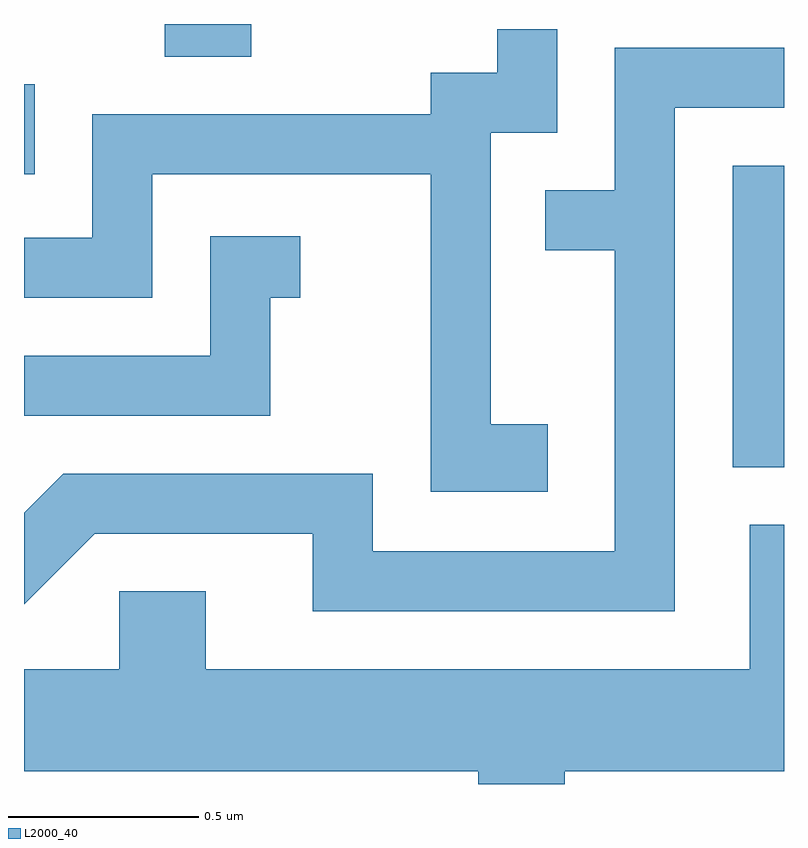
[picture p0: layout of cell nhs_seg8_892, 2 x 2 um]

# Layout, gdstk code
import gdstk
lib = gdstk.Library(unit=1e-6, precision=1e-09)
def R(c, l, rs):  # rectangles x0, y0, x1, y1
    for r in rs: c.add(gdstk.rectangle(r[:2], r[2:], *l))
def P(c, l, *ps):  # polygons
    for p in ps: c.add(gdstk.Polygon(p, *l))
L2000_40 = (2000, 40)

nhs_seg8_892 = lib.new_cell('nhs_seg8_892')
R(nhs_seg8_892, L2000_40, [(193.476,1877.176,193.611,1877.969), (191.611,1877.946,191.639,1878.183), (191.981,1878.256,192.209,1878.342)])
P(nhs_seg8_892, L2000_40, [(192.989,1877.289),(192.839,1877.289),(192.839,1878.056),(193.014,1878.056),(193.014,1878.328),(192.856,1878.328),(192.856,1878.214),(192.681,1878.214),(192.681,1878.104),(191.791,1878.104),(191.791,1877.779),(191.611,1877.779),(191.611,1877.621),(191.949,1877.621),(191.949,1877.946),(192.681,1877.946),(192.681,1877.111),(192.989,1877.111)],
  [(193.324,1878.121),(193.611,1878.121),(193.611,1878.279),(193.166,1878.279),(193.166,1877.904),(192.983,1877.904),(192.983,1877.746),(193.166,1877.746),(193.166,1876.954),(192.529,1876.954),(192.529,1877.159),(191.714,1877.159),(191.611,1877.056),(191.611,1876.815),(191.797,1877.001),(192.371,1877.001),(192.371,1876.796),(193.324,1876.796)],
  [(192.259,1877.621),(192.338,1877.621),(192.338,1877.784),(192.101,1877.784),(192.101,1877.469),(191.611,1877.469),(191.611,1877.311),(192.259,1877.311)],
  [(193.034,1876.376),(193.611,1876.376),(193.611,1877.024),(193.521,1877.024),(193.521,1876.644),(192.089,1876.644),(192.089,1876.849),(191.861,1876.849),(191.861,1876.644),(191.611,1876.644),(191.611,1876.376),(192.806,1876.376),(192.806,1876.342),(193.034,1876.342)])

lib.write_gds('nhs_seg8_892.gds')
